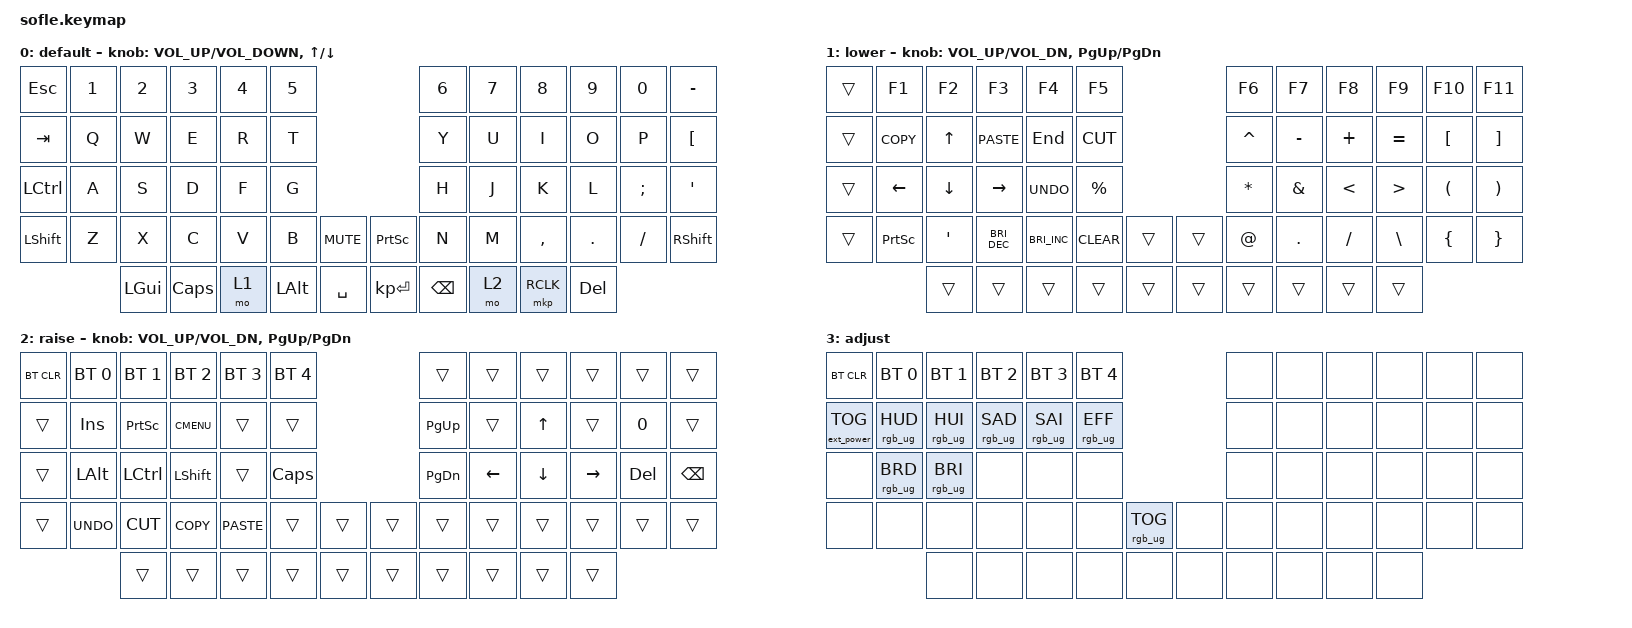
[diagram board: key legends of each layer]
/*
 * Copyright (c) 2020 The ZMK Contributors
 *
 * SPDX-License-Identifier: MIT
 */

#include <behaviors.dtsi>
#include <dt-bindings/zmk/bt.h>
#include <dt-bindings/zmk/ext_power.h>
#include <dt-bindings/zmk/keys.h>
#include <dt-bindings/zmk/pointing.h>
#include <dt-bindings/zmk/rgb.h>

#define BASE 0
#define LOWER 1
#define RAISE 2
#define ADJUST 3

/ {
    // Activate ADJUST layer by pressing raise and lower

    conditional_layers {
        compatible = "zmk,conditional-layers";

        adjust_layer {
            if-layers = <LOWER RAISE>;
            then-layer = <ADJUST>;
        };
    };

    keymap {
        compatible = "zmk,keymap";

        default_layer {
            display-name = "default";

            // ------------------------------------------------------------------------------------------------------------
            // |   `   |  1  |  2  |  3   |  4   |  5   |                   |  6   |  7    |  8    |  9   |   0   |       |
            // |  ESC  |  Q  |  W  |  E   |  R   |  T   |                   |  Y   |  U    |  I    |  O   |   P   | BKSPC |
            // |  TAB  |  A  |  S  |  D   |  F   |  G   |                   |  H   |  J    |  K    |  L   |   ;   |   '   |
            // | SHIFT |  Z  |  X  |  C   |  V   |  B   |  MUTE  |  |       |  N   |  M    |  ,    |  .   |   /   | SHIFT |
            //               | GUI | ALT  | CTRL | LOWER|  ENTER |  | SPACE | RAISE| CTRL  | ALT   | GUI  |

            bindings = <
&kp ESC         &kp N1  &kp N2    &kp N3    &kp N4  &kp N5                                       &kp N6         &kp N7  &kp N8     &kp N9      &kp N0    &kp MINUS
&kp TAB         &kp Q   &kp W     &kp E     &kp R   &kp T                                        &kp Y          &kp U   &kp I      &kp O       &kp P     &kp LEFT_BRACKET
&kp LCTRL       &kp A   &kp S     &kp D     &kp F   &kp G                                        &kp H          &kp J   &kp K      &kp L       &kp SEMI  &kp SQT
&kp LEFT_SHIFT  &kp Z   &kp X     &kp C     &kp V   &kp B         &kp C_MUTE    &kp PRINTSCREEN  &kp N          &kp M   &kp COMMA  &kp DOT     &kp FSLH  &kp RSHFT
                        &kp LGUI  &kp CAPS  &mo 1   &kp LEFT_ALT  &kp SPACE     &kp KP_ENTER     &kp BACKSPACE  &mo 2   &mkp RCLK  &kp DELETE
            >;

            sensor-bindings =
                <&inc_dec_kp C_VOLUME_UP C_VOLUME_DOWN>,
                <&inc_dec_kp UP_ARROW DOWN_ARROW>;
        };

        lower_layer {
            display-name = "lower";

            // TODO: Some binds are waiting for shifted keycode support.
            // ------------------------------------------------------------------------------------------------------------
            // |       |  F1 |  F2 |  F3  |  F4  |  F5  |                   |  F6  |  F7   |  F8   |  F9  |  F10  |  F11  |
            // |   `   |  1  |  2  |  3   |  4   |  5   |                   |  6   |  7    |  8    |  9   |   0   |  F12  |
            // |       |  !  |  @  |  #   |  $   |  %   |                   |  ^   |  &    |  *    |  (   |   )   |   |   |
            // |       |  =  |  -  |  +   |  {   |  }   |        |  |       |  [   |  ]    |  ;    |  :   |   \   |       |
            //               |     |      |      |      |        |  |       |      |       |       |      |

            bindings = <
&trans  &kp F1           &kp F2          &kp F3                &kp F4                &kp F5                       &kp F6        &kp F7     &kp F8         &kp F9            &kp F10               &kp F11
&trans  &kp K_COPY       &kp UP_ARROW    &kp K_PASTE           &kp END               &kp K_CUT                    &kp CARET     &kp MINUS  &kp PLUS       &kp EQUAL         &kp LEFT_BRACKET      &kp RIGHT_BRACKET
&trans  &kp LEFT_ARROW   &kp DOWN_ARROW  &kp RIGHT             &kp K_UNDO            &kp PRCNT                    &kp ASTERISK  &kp AMPS   &kp LESS_THAN  &kp GREATER_THAN  &kp LEFT_PARENTHESIS  &kp RIGHT_PARENTHESIS
&trans  &kp PRINTSCREEN  &kp APOS        &kp C_BRIGHTNESS_DEC  &kp C_BRIGHTNESS_INC  &kp CLEAR  &trans    &trans  &kp AT        &kp DOT    &kp SLASH      &kp BACKSLASH     &kp LEFT_BRACE        &kp RIGHT_BRACE
                         &trans          &trans                &trans                &trans     &trans    &trans  &trans        &trans     &trans         &trans
            >;

            sensor-bindings = <&inc_dec_kp C_VOL_UP C_VOL_DN &inc_dec_kp PG_UP PG_DN>;
        };

        raise_layer {
            display-name = "raise";

            // ------------------------------------------------------------------------------------------------------------
            // | BTCLR | BT1  | BT2  |  BT3  |  BT4  |  BT5 |                |      |      |       |      |       |       |
            // |       | INS  | PSCR | GUI   |       |      |                | PGUP |      |   ^   |      |       |       |
            // |       | ALT  | CTRL | SHIFT |       | CAPS |                | PGDN |   <- |   v   |  ->  |  DEL  | BKSPC |
            // |       | UNDO | CUT  | COPY  | PASTE |      |      |  |      |      |      |       |      |       |       |
            //                |      |       |       |      |      |  |      |      |      |       |      |

            bindings = <
&bt BT_CLR  &bt BT_SEL 0  &bt BT_SEL 1  &bt BT_SEL 2  &bt BT_SEL 3  &bt BT_SEL 4                    &trans     &trans    &trans    &trans     &trans   &trans
&trans      &kp INS       &kp PSCRN     &kp K_CMENU   &trans        &trans                          &kp PG_UP  &trans    &kp UP    &trans     &kp N0   &trans
&trans      &kp LALT      &kp LCTRL     &kp LSHFT     &trans        &kp CLCK                        &kp PG_DN  &kp LEFT  &kp DOWN  &kp RIGHT  &kp DEL  &kp BSPC
&trans      &kp K_UNDO    &kp K_CUT     &kp K_COPY    &kp K_PASTE   &trans        &trans    &trans  &trans     &trans    &trans    &trans     &trans   &trans
                          &trans        &trans        &trans        &trans        &trans    &trans  &trans     &trans    &trans    &trans
            >;

            sensor-bindings = <&inc_dec_kp C_VOL_UP C_VOL_DN &inc_dec_kp PG_UP PG_DN>;
        };

        adjust_layer {
            // ----------------------------------------------------------------------------------------------------------------------------
            // | BTCLR  |  BT1    |  BT2    |   BT3   |   BT4   |   BT5   |                  |      |      |       |      |       |       |
            // | EXTPWR | RGB_HUD | RGB_HUI | RGB_SAD | RGB_SAI | RGB_EFF |                  |      |      |       |      |       |       |
            // |        | RGB_BRD | RGB_BRI |         |         |         |                  |      |      |       |      |       |       |
            // |        |         |         |         |         |         | RGB_TOG | |      |      |      |       |      |       |       |
            //                    |         |         |         |         |         | |      |      |      |       |      |

            display-name = "adjust";
            bindings = <
&bt BT_CLR         &bt BT_SEL 0     &bt BT_SEL 1     &bt BT_SEL 2     &bt BT_SEL 3     &bt BT_SEL 4                               &none  &none  &none  &none  &none  &none
&ext_power EP_TOG  &rgb_ug RGB_HUD  &rgb_ug RGB_HUI  &rgb_ug RGB_SAD  &rgb_ug RGB_SAI  &rgb_ug RGB_EFF                            &none  &none  &none  &none  &none  &none
&none              &rgb_ug RGB_BRD  &rgb_ug RGB_BRI  &none            &none            &none                                      &none  &none  &none  &none  &none  &none
&none              &none            &none            &none            &none            &none            &rgb_ug RGB_TOG    &none  &none  &none  &none  &none  &none  &none
                                    &none            &none            &none            &none            &none              &none  &none  &none  &none  &none
            >;
        };
    };
};
